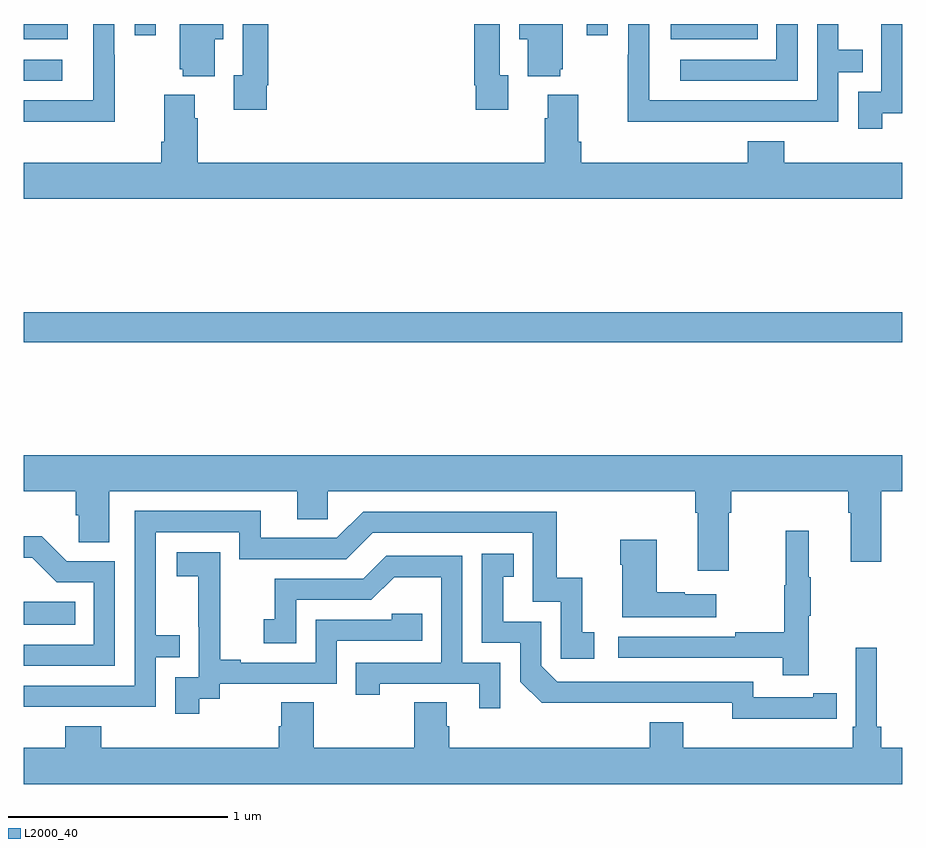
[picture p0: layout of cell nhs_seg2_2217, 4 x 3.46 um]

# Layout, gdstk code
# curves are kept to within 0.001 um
import gdstk
lib = gdstk.Library(unit=1e-6, precision=1e-09)
def R(c, l, rs):  # rectangles x0, y0, x1, y1
    for r in rs: c.add(gdstk.rectangle(r[:2], r[2:], *l))
def P(c, l, *ps):  # polygons
    for p in ps: c.add(gdstk.Polygon(p, *l))
L2000_40 = (2000, 40)

nhs_seg2_2217 = lib.new_cell('nhs_seg2_2217')
R(nhs_seg2_2217, L2000_40, [(227,611.066,227.234,611.17), (227,612.352,231,612.488), (227,613.542,227.176,613.638), (227,613.73,227.2,613.8), (229.946,613.73,230.342,613.8), (227.505,613.749,227.601,613.8), (229.563,613.749,229.659,613.8)])
P(nhs_seg2_2217, L2000_40, [(230.213,613.356),(230.709,613.356),(230.709,613.581),(230.819,613.581),(230.819,613.682),(230.709,613.682),(230.709,613.8),(230.613,613.8),(230.613,613.452),(229.849,613.452),(229.849,613.706),(229.848,613.706),(229.848,613.8),(229.752,613.8),(229.752,613.661),(229.75,613.661),(229.75,613.355),(230.213,613.355)],
  [(227.869,613.73),(227.908,613.73),(227.908,613.8),(227.711,613.8),(227.711,613.593),(227.723,613.593),(227.723,613.562),(227.869,613.562)],
  [(229.442,613.593),(229.453,613.593),(229.453,613.8),(229.256,613.8),(229.256,613.73),(229.295,613.73),(229.295,613.562),(229.442,613.562)],
  [(229.207,613.566),(229.167,613.566),(229.167,613.8),(229.051,613.8),(229.051,613.522),(229.059,613.522),(229.059,613.41),(229.207,613.41)],
  [(227.415,613.661),(227.412,613.661),(227.412,613.8),(227.316,613.8),(227.316,613.452),(227,613.452),(227,613.355),(227.415,613.355)],
  [(228.106,613.522),(228.113,613.522),(228.113,613.8),(227.997,613.8),(227.997,613.566),(227.957,613.566),(227.957,613.41),(228.106,613.41)],
  [(230.523,613.8),(230.427,613.8),(230.427,613.638),(229.989,613.638),(229.989,613.542),(230.523,613.542)],
  [(230.908,613.393),(231,613.393),(231,613.8),(230.903,613.8),(230.903,613.721),(230.904,613.721),(230.904,613.491),(230.799,613.491),(230.799,613.323),(230.908,613.323)],
  [(231,613.168),(230.462,613.168),(230.462,613.267),(230.297,613.267),(230.297,613.168),(229.538,613.168),(229.538,613.264),(229.525,613.264),(229.525,613.477),(229.385,613.477),(229.385,613.37),(229.373,613.37),(229.373,613.168),(227.792,613.168),(227.792,613.37),(227.779,613.37),(227.779,613.477),(227.639,613.477),(227.639,613.264),(227.627,613.264),(227.627,613.168),(227,613.168),(227,613.004),(231,613.004)],
  [(230.209,611.576),(230.222,611.576),(230.222,611.672),(230.753,611.672),(230.753,611.576),(230.765,611.576),(230.765,611.352),(230.905,611.352),(230.905,611.672),(231,611.672),(231,611.836),(227,611.836),(227,611.672),(227.237,611.672),(227.237,611.563),(227.25,611.563),(227.25,611.44),(227.389,611.44),(227.389,611.672),(228.245,611.672),(228.245,611.545),(228.384,611.545),(228.384,611.672),(230.057,611.672),(230.057,611.576),(230.069,611.576),(230.069,611.31),(230.209,611.31)],
  [(227.105,610.692),(227.601,610.692),(227.601,610.917),(227.711,610.917),(227.711,611.018),(227.601,611.018),(227.601,611.487),(227.982,611.487),(227.982,611.364),(228.468,611.364),(228.588,611.484),(229.317,611.484),(229.317,611.169),(229.446,611.169),(229.446,610.911),(229.597,610.911),(229.597,611.031),(229.544,611.031),(229.544,611.278),(229.426,611.278),(229.426,611.58),(228.546,611.58),(228.426,611.46),(228.079,611.46),(228.079,611.583),(227.505,611.583),(227.505,610.788),(227,610.788),(227,610.691)],
  [(230.573,611.107),(230.584,611.107),(230.584,611.281),(230.573,611.281),(230.573,611.494),(230.47,611.494),(230.47,611.244),(230.463,611.244),(230.463,611.03),(230.239,611.03),(230.239,611.01),(229.707,611.01),(229.707,610.914),(230.455,610.914),(230.455,610.836),(230.573,610.836)],
  [(227.415,611.355),(227.196,611.355),(227.083,611.468),(227,611.468),(227,611.37),(227.039,611.37),(227.15,611.259),(227.319,611.259),(227.319,610.974),(227,610.974),(227,610.878),(227.415,610.878)],
  [(230.152,611.203),(230.009,611.203),(230.009,611.213),(229.882,611.213),(229.882,611.452),(229.717,611.452),(229.717,611.339),(229.724,611.339),(229.724,611.099),(230.152,611.099)],
  [(227.8,610.729),(227.892,610.729),(227.892,610.797),(228.426,610.797),(228.426,610.992),(228.815,610.992),(228.815,611.115),(228.675,611.115),(228.675,611.088),(228.33,611.088),(228.33,610.893),(227.989,610.893),(227.989,610.906),(227.894,610.906),(227.894,611.189),(227.895,611.189),(227.895,611.395),(227.697,611.395),(227.697,611.285),(227.795,611.285),(227.795,611.057),(227.796,611.057),(227.796,610.827),(227.691,610.827),(227.691,610.659),(227.8,610.659)],
  [(230.594,610.638),(230.702,610.638),(230.702,610.754),(230.594,610.754),(230.594,610.734),(230.322,610.734),(230.322,610.806),(229.428,610.806),(229.356,610.878),(229.356,611.079),(229.183,611.079),(229.183,611.283),(229.232,611.283),(229.232,611.389),(229.086,611.389),(229.086,610.983),(229.26,610.983),(229.26,610.806),(229.358,610.709),(230.226,610.71),(230.226,610.637)],
  [(229.17,610.893),(228.996,610.893),(228.996,611.379),(228.65,611.379),(228.545,611.274),(228.142,611.274),(228.142,611.089),(228.093,611.089),(228.093,610.98),(228.24,610.98),(228.24,611.178),(228.582,611.178),(228.686,611.282),(228.9,611.282),(228.9,610.893),(228.511,610.893),(228.511,610.746),(228.622,610.746),(228.622,610.797),(229.073,610.797),(229.073,610.686),(229.17,610.686)],
  [(231,610.504),(230.903,610.504),(230.903,610.6),(230.884,610.6),(230.884,610.96),(230.787,610.96),(230.787,610.6),(230.774,610.6),(230.774,610.504),(230.002,610.504),(230.002,610.621),(229.85,610.621),(229.85,610.504),(228.938,610.504),(228.938,610.602),(228.925,610.602),(228.925,610.712),(228.778,610.712),(228.778,610.504),(228.321,610.504),(228.321,610.712),(228.173,610.712),(228.173,610.602),(228.161,610.602),(228.161,610.504),(227.354,610.504),(227.354,610.603),(227.189,610.603),(227.189,610.504),(227,610.504),(227,610.34),(231,610.34)])

lib.write_gds('nhs_seg2_2217.gds')
